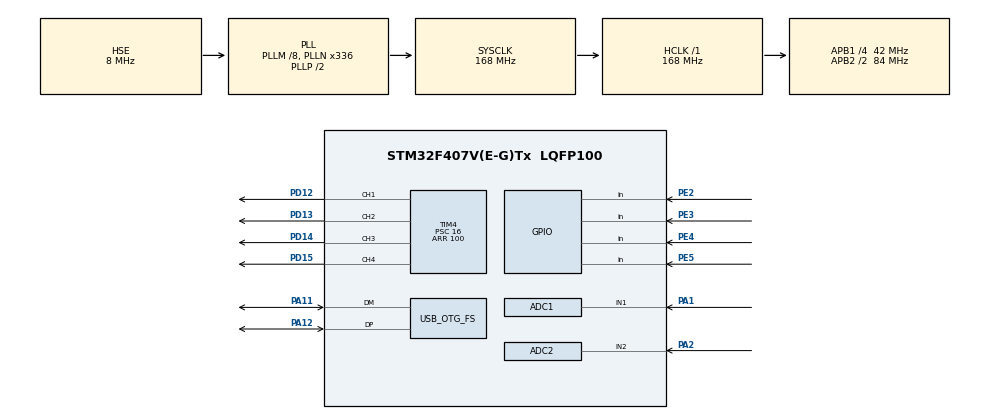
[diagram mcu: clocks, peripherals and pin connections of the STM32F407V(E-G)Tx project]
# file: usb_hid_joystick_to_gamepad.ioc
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ADC1.Channel-0\#ChannelRegularConversion=ADC_CHANNEL_1
ADC1.NbrOfConversionFlag=1
ADC1.Rank-0\#ChannelRegularConversion=1
ADC1.Resolution=ADC_RESOLUTION_8B
ADC1.SamplingTime-0\#ChannelRegularConversion=ADC_SAMPLETIME_3CYCLES
ADC1.master=1
ADC2.Channel-0\#ChannelRegularConversion=ADC_CHANNEL_2
ADC2.NbrOfConversionFlag=1
ADC2.Rank-0\#ChannelRegularConversion=1
ADC2.Resolution=ADC_RESOLUTION_8B
ADC2.SamplingTime-0\#ChannelRegularConversion=ADC_SAMPLETIME_3CYCLES
Mcu.Family=STM32F4
Mcu.Name=STM32F407V(E-G)Tx
Mcu.Package=LQFP100
NVIC.OTG_FS_IRQn=true\:0\:0\:false\:false\:true\:true\:true\:true
NVIC.PriorityGroup=NVIC_PRIORITYGROUP_0
PA1.Signal=ADCx_IN1
PA11.Mode=Device_Only
PA11.Signal=USB_OTG_FS_DM
PA12.Mode=Device_Only
PA12.Signal=USB_OTG_FS_DP
PA2.Signal=ADCx_IN2
PD12.Signal=S_TIM4_CH1
PD13.Signal=S_TIM4_CH2
PD14.Signal=S_TIM4_CH3
PD15.Signal=S_TIM4_CH4
PE2.GPIO_PuPd=GPIO_PULLUP
PE2.Signal=GPIO_Input
PE3.GPIO_PuPd=GPIO_PULLUP
PE3.Signal=GPIO_Input
PE4.GPIO_PuPd=GPIO_PULLUP
PE4.Signal=GPIO_Input
PE5.GPIO_PuPd=GPIO_PULLUP
PE5.Signal=GPIO_Input
PH0-OSC_IN.Mode=HSE-External-Oscillator
PH0-OSC_IN.Signal=RCC_OSC_IN
PH1-OSC_OUT.Mode=HSE-External-Oscillator
PH1-OSC_OUT.Signal=RCC_OSC_OUT
ProjectManager.HeapSize=0x200
ProjectManager.StackSize=0x400
ProjectManager.TargetToolchain=STM32CubeIDE
RCC.48MHZClocksFreq_Value=48000000
RCC.AHBFreq_Value=168000000
RCC.APB1CLKDivider=RCC_HCLK_DIV4
RCC.APB1Freq_Value=42000000
RCC.APB1TimFreq_Value=84000000
RCC.APB2CLKDivider=RCC_HCLK_DIV2
RCC.APB2Freq_Value=84000000
RCC.APB2TimFreq_Value=168000000
RCC.CortexFreq_Value=168000000
RCC.HCLKFreq_Value=168000000
RCC.HSE_VALUE=8000000
RCC.HSI_VALUE=16000000
RCC.LSE_VALUE=32768
RCC.PLLM=8
RCC.PLLN=336
RCC.PLLQ=7
RCC.SYSCLKFreq_VALUE=168000000
RCC.SYSCLKSource=RCC_SYSCLKSOURCE_PLLCLK
RCC.VCOOutputFreq_Value=336000000
SH.ADCx_IN1.0=ADC1_IN1,IN1
SH.ADCx_IN2.0=ADC2_IN2,IN2
SH.S_TIM4_CH1.0=TIM4_CH1,PWM Generation1 CH1
SH.S_TIM4_CH2.0=TIM4_CH2,PWM Generation2 CH2
SH.S_TIM4_CH3.0=TIM4_CH3,PWM Generation3 CH3
SH.S_TIM4_CH4.0=TIM4_CH4,PWM Generation4 CH4
TIM4.Channel-PWM\ Generation1\ CH1=TIM_CHANNEL_1
TIM4.Channel-PWM\ Generation2\ CH2=TIM_CHANNEL_2
TIM4.Channel-PWM\ Generation3\ CH3=TIM_CHANNEL_3
TIM4.Channel-PWM\ Generation4\ CH4=TIM_CHANNEL_4
TIM4.Period=100
TIM4.Prescaler=16
TIM4.Pulse-PWM\ Generation1\ CH1=100
TIM4.Pulse-PWM\ Generation2\ CH2=100
TIM4.Pulse-PWM\ Generation3\ CH3=100
TIM4.Pulse-PWM\ Generation4\ CH4=100
USB_DEVICE.CLASS_NAME_FS=CUSTOM_HID
USB_DEVICE.VirtualMode-CUSTOM_HID_FS=CustomHid
USB_DEVICE.VirtualModeFS=Custom_Hid_FS
USB_OTG_FS.VirtualMode=Device_Only
VP_TIM4_VS_ClockSourceINT.Mode=Internal
VP_USB_DEVICE_VS_USB_DEVICE_CUSTOM_HID_FS.Mode=CUSTOM_HID_FS
board=STM32F407G-DISC1

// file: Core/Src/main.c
/* USER CODE BEGIN Header */
/**
 ******************************************************************************
 * @file           : main.c
 * @brief          : Main program body
 ******************************************************************************
 * @attention
 *
 * Copyright (c) 2024 STMicroelectronics.
 * All rights reserved.
 *
 * This software is licensed under terms that can be found in the LICENSE file
 * in the root directory of this software component.
 * If no LICENSE file comes with this software, it is provided AS-IS.
 *
 ******************************************************************************
 */
/* USER CODE END Header */
#include "main.h"
#include "usb_device.h"

/* USER CODE BEGIN Includes */
#include "usbd_customhid.h"
/* USER CODE END Includes */

/* USER CODE BEGIN PTD */
typedef struct Joystick {
	uint8_t up;
	uint8_t down;
	uint8_t left;
	uint8_t right;
} JoystickTypeDef;
/* USER CODE END PTD */

/* USER CODE BEGIN PM */
#define	GAMEPAD_BUFF_SIZE_UC	3U
/* USER CODE END PM */

ADC_HandleTypeDef hadc1;
ADC_HandleTypeDef hadc2;

TIM_HandleTypeDef htim4;

/* USER CODE BEGIN PV */
extern USBD_HandleTypeDef hUsbDeviceFS;

uint32_t 	DBG_SIZE_PIN_STATE;
GPIO_PinState		DBG_VAL_PIN_STATE;
/* USER CODE END PV */

void SystemClock_Config(void);
static void MX_GPIO_Init(void);
static void MX_ADC1_Init(void);
static void MX_ADC2_Init(void);
static void MX_TIM4_Init(void);
/* USER CODE BEGIN PFP */

void JoystickToLeds(uint8_t ucAdcXIn, uint8_t ucAdcYIn, uint8_t *ucPosUpOut,
		uint8_t *ucPosDownOut, uint8_t *ucPosLeftOut, uint8_t *ucPosRightOut);

void JoystickToUsb(uint8_t ucAdcXIn, uint8_t ucAdcYIn, uint8_t *scUsbXOut,
		uint8_t *scUsbYOut);

/* USER CODE END PFP */

int main(void) {
	/* USER CODE BEGIN 1 */
	uint32_t uiAdc1Val = 0U;
	uint32_t uiAdc2Val = 0U;
	GPIO_PinState BtnState0, BtnState1, BtnState2, BtnState3;
	JoystickTypeDef Joystick_t;
	uint8_t ucGamePadBuffer[GAMEPAD_BUFF_SIZE_UC];
	/* USER CODE END 1 */

	/* MCU Configuration--------------------------------------------------------*/

	/* Reset of all peripherals, Initializes the Flash interface and the Systick. */
	HAL_Init();

	/* Configure the system clock */
	SystemClock_Config();

	/* Initialize all configured peripherals */
	MX_GPIO_Init();
	MX_USB_DEVICE_Init();
	MX_ADC1_Init();
	MX_ADC2_Init();
	MX_TIM4_Init();
	/* USER CODE BEGIN 2 */
	HAL_TIM_PWM_Start(&htim4, TIM_CHANNEL_1);
	HAL_TIM_PWM_Start(&htim4, TIM_CHANNEL_2);
	HAL_TIM_PWM_Start(&htim4, TIM_CHANNEL_3);
	HAL_TIM_PWM_Start(&htim4, TIM_CHANNEL_4);

	ucGamePadBuffer[0] = 0U; /*X movement (0: not moving, +ve: Right movement, -ve: Left movement)*/
	ucGamePadBuffer[1] = 0U; /*Y movement (0: not moving, +ve: Down movement, -ve: Up movement)*/
	ucGamePadBuffer[2] = 0x90U; /*Right and Left clicks (0: None, 1: Left Click, 2: Right click)*/

	/* USER CODE END 2 */

	/* Infinite loop */
	/* USER CODE BEGIN WHILE */
	while (1) {
		/*Get the ADC1 value*/
		HAL_ADC_Start(&hadc1);
		if (HAL_ADC_PollForConversion(&hadc1, 5U) == HAL_OK) {
			uiAdc1Val = HAL_ADC_GetValue(&hadc1);
		}
		HAL_ADC_Stop(&hadc1);

		/*Get the ADC2 value*/
		HAL_ADC_Start(&hadc2);
		if (HAL_ADC_PollForConversion(&hadc2, 5U) == HAL_OK) {
			uiAdc2Val = HAL_ADC_GetValue(&hadc2);
		}
		HAL_ADC_Stop(&hadc2);

		JoystickToLeds(uiAdc1Val, uiAdc2Val, &Joystick_t.up, &Joystick_t.down,
				&Joystick_t.left, &Joystick_t.right);

		/*Modify PWM duty cycle according to ADCs values*/
		htim4.Instance->CCR1 = (uint32_t) Joystick_t.down;
		htim4.Instance->CCR2 = (uint32_t) Joystick_t.right;
		htim4.Instance->CCR3 = (uint32_t) Joystick_t.up;
		htim4.Instance->CCR4 = (uint32_t) Joystick_t.left;

		/*Read GPIO Buttons state and update the GamePad signal*/
		BtnState0 = HAL_GPIO_ReadPin(GPIOE, GPIO_PIN_2);
		BtnState1 = HAL_GPIO_ReadPin(GPIOE, GPIO_PIN_3);
		BtnState2 = HAL_GPIO_ReadPin(GPIOE, GPIO_PIN_4);
		BtnState3 = HAL_GPIO_ReadPin(GPIOE, GPIO_PIN_5);

		ucGamePadBuffer[2] = (((uint8_t)BtnState0 << 0U) | ((uint8_t)BtnState1 << 1U)
				| ((uint8_t)BtnState2 << 2U) | ((uint8_t)BtnState3 << 3U) | 0x90U);

		/*Convert Joystick reads into Mouse signals*/
		JoystickToUsb(uiAdc1Val, uiAdc2Val, &ucGamePadBuffer[0],
				&ucGamePadBuffer[1]);

		ucGamePadBuffer[2] 	= 0x90U;
		DBG_SIZE_PIN_STATE	= sizeof(GPIO_PinState);
		DBG_VAL_PIN_STATE	= BtnState0;

		/*Send the Mouse signals through USB*/
		USBD_CUSTOM_HID_SendReport(&hUsbDeviceFS, ucGamePadBuffer,
				GAMEPAD_BUFF_SIZE_UC);
		HAL_Delay(100U);

		/* USER CODE END WHILE */

	}
}

void SystemClock_Config(void) {
	RCC_OscInitTypeDef RCC_OscInitStruct = { 0 };
	RCC_ClkInitTypeDef RCC_ClkInitStruct = { 0 };

	/** Configure the main internal regulator output voltage
	 */
	__HAL_RCC_PWR_CLK_ENABLE();
	__HAL_PWR_VOLTAGESCALING_CONFIG(PWR_REGULATOR_VOLTAGE_SCALE1);

	/** Initializes the RCC Oscillators according to the specified parameters
	 * in the RCC_OscInitTypeDef structure.
	 */
	RCC_OscInitStruct.OscillatorType = RCC_OSCILLATORTYPE_HSE;
	RCC_OscInitStruct.HSEState = RCC_HSE_ON;
	RCC_OscInitStruct.PLL.PLLState = RCC_PLL_ON;
	RCC_OscInitStruct.PLL.PLLSource = RCC_PLLSOURCE_HSE;
	RCC_OscInitStruct.PLL.PLLM = 8;
	RCC_OscInitStruct.PLL.PLLN = 336;
	RCC_OscInitStruct.PLL.PLLP = RCC_PLLP_DIV2;
	RCC_OscInitStruct.PLL.PLLQ = 7;
	if (HAL_RCC_OscConfig(&RCC_OscInitStruct) != HAL_OK) {
		Error_Handler();
	}

	/** Initializes the CPU, AHB and APB buses clocks
	 */
	RCC_ClkInitStruct.ClockType = RCC_CLOCKTYPE_HCLK | RCC_CLOCKTYPE_SYSCLK
			| RCC_CLOCKTYPE_PCLK1 | RCC_CLOCKTYPE_PCLK2;
	RCC_ClkInitStruct.SYSCLKSource = RCC_SYSCLKSOURCE_PLLCLK;
	RCC_ClkInitStruct.AHBCLKDivider = RCC_SYSCLK_DIV1;
	RCC_ClkInitStruct.APB1CLKDivider = RCC_HCLK_DIV4;
	RCC_ClkInitStruct.APB2CLKDivider = RCC_HCLK_DIV2;

	if (HAL_RCC_ClockConfig(&RCC_ClkInitStruct, FLASH_LATENCY_5) != HAL_OK) {
		Error_Handler();
	}
}

static void MX_ADC1_Init(void) {

	ADC_ChannelConfTypeDef sConfig = { 0 };

	/** Configure the global features of the ADC (Clock, Resolution, Data Alignment and number of conversion)
	 */
	hadc1.Instance = ADC1;
	hadc1.Init.ClockPrescaler = ADC_CLOCK_SYNC_PCLK_DIV4;
	hadc1.Init.Resolution = ADC_RESOLUTION_8B;
	hadc1.Init.ScanConvMode = DISABLE;
	hadc1.Init.ContinuousConvMode = DISABLE;
	hadc1.Init.DiscontinuousConvMode = DISABLE;
	hadc1.Init.ExternalTrigConvEdge = ADC_EXTERNALTRIGCONVEDGE_NONE;
	hadc1.Init.ExternalTrigConv = ADC_SOFTWARE_START;
	hadc1.Init.DataAlign = ADC_DATAALIGN_RIGHT;
	hadc1.Init.NbrOfConversion = 1;
	hadc1.Init.DMAContinuousRequests = DISABLE;
	hadc1.Init.EOCSelection = ADC_EOC_SINGLE_CONV;
	if (HAL_ADC_Init(&hadc1) != HAL_OK) {
		Error_Handler();
	}

	/** Configure for the selected ADC regular channel its corresponding rank in the sequencer and its sample time.
	 */
	sConfig.Channel = ADC_CHANNEL_1;
	sConfig.Rank = 1;
	sConfig.SamplingTime = ADC_SAMPLETIME_3CYCLES;
	if (HAL_ADC_ConfigChannel(&hadc1, &sConfig) != HAL_OK) {
		Error_Handler();
	}

}

static void MX_ADC2_Init(void) {

	ADC_ChannelConfTypeDef sConfig = { 0 };

	/** Configure the global features of the ADC (Clock, Resolution, Data Alignment and number of conversion)
	 */
	hadc2.Instance = ADC2;
	hadc2.Init.ClockPrescaler = ADC_CLOCK_SYNC_PCLK_DIV4;
	hadc2.Init.Resolution = ADC_RESOLUTION_8B;
	hadc2.Init.ScanConvMode = DISABLE;
	hadc2.Init.ContinuousConvMode = DISABLE;
	hadc2.Init.DiscontinuousConvMode = DISABLE;
	hadc2.Init.ExternalTrigConvEdge = ADC_EXTERNALTRIGCONVEDGE_NONE;
	hadc2.Init.ExternalTrigConv = ADC_SOFTWARE_START;
	hadc2.Init.DataAlign = ADC_DATAALIGN_RIGHT;
	hadc2.Init.NbrOfConversion = 1;
	hadc2.Init.DMAContinuousRequests = DISABLE;
	hadc2.Init.EOCSelection = ADC_EOC_SINGLE_CONV;
	if (HAL_ADC_Init(&hadc2) != HAL_OK) {
		Error_Handler();
	}

	/** Configure for the selected ADC regular channel its corresponding rank in the sequencer and its sample time.
	 */
	sConfig.Channel = ADC_CHANNEL_2;
	sConfig.Rank = 1;
	sConfig.SamplingTime = ADC_SAMPLETIME_3CYCLES;
	if (HAL_ADC_ConfigChannel(&hadc2, &sConfig) != HAL_OK) {
		Error_Handler();
	}

}

static void MX_TIM4_Init(void) {

	TIM_ClockConfigTypeDef sClockSourceConfig = { 0 };
	TIM_MasterConfigTypeDef sMasterConfig = { 0 };
	TIM_OC_InitTypeDef sConfigOC = { 0 };

	htim4.Instance = TIM4;
	htim4.Init.Prescaler = 16;
	htim4.Init.CounterMode = TIM_COUNTERMODE_UP;
	htim4.Init.Period = 100;
	htim4.Init.ClockDivision = TIM_CLOCKDIVISION_DIV1;
	htim4.Init.AutoReloadPreload = TIM_AUTORELOAD_PRELOAD_DISABLE;
	if (HAL_TIM_Base_Init(&htim4) != HAL_OK) {
		Error_Handler();
	}
	sClockSourceConfig.ClockSource = TIM_CLOCKSOURCE_INTERNAL;
	if (HAL_TIM_ConfigClockSource(&htim4, &sClockSourceConfig) != HAL_OK) {
		Error_Handler();
	}
	if (HAL_TIM_PWM_Init(&htim4) != HAL_OK) {
		Error_Handler();
	}
	sMasterConfig.MasterOutputTrigger = TIM_TRGO_RESET;
	sMasterConfig.MasterSlaveMode = TIM_MASTERSLAVEMODE_DISABLE;
	if (HAL_TIMEx_MasterConfigSynchronization(&htim4, &sMasterConfig)
			!= HAL_OK) {
		Error_Handler();
	}
	sConfigOC.OCMode = TIM_OCMODE_PWM1;
	sConfigOC.Pulse = 100;
	sConfigOC.OCPolarity = TIM_OCPOLARITY_HIGH;
	sConfigOC.OCFastMode = TIM_OCFAST_DISABLE;
	if (HAL_TIM_PWM_ConfigChannel(&htim4, &sConfigOC, TIM_CHANNEL_1)
			!= HAL_OK) {
		Error_Handler();
	}
	if (HAL_TIM_PWM_ConfigChannel(&htim4, &sConfigOC, TIM_CHANNEL_2)
			!= HAL_OK) {
		Error_Handler();
	}
	if (HAL_TIM_PWM_ConfigChannel(&htim4, &sConfigOC, TIM_CHANNEL_3)
			!= HAL_OK) {
		Error_Handler();
	}
	if (HAL_TIM_PWM_ConfigChannel(&htim4, &sConfigOC, TIM_CHANNEL_4)
			!= HAL_OK) {
		Error_Handler();
	}
	HAL_TIM_MspPostInit(&htim4);

}

static void MX_GPIO_Init(void) {
	GPIO_InitTypeDef GPIO_InitStruct = { 0 };

	/* GPIO Ports Clock Enable */
	__HAL_RCC_GPIOE_CLK_ENABLE();
	__HAL_RCC_GPIOH_CLK_ENABLE();
	__HAL_RCC_GPIOA_CLK_ENABLE();
	__HAL_RCC_GPIOD_CLK_ENABLE();

	/*Configure GPIO pins : PE2 PE3 PE4 PE5 */
	GPIO_InitStruct.Pin = GPIO_PIN_2 | GPIO_PIN_3 | GPIO_PIN_4 | GPIO_PIN_5;
	GPIO_InitStruct.Mode = GPIO_MODE_INPUT;
	GPIO_InitStruct.Pull = GPIO_PULLUP;
	HAL_GPIO_Init(GPIOE, &GPIO_InitStruct);

}

/* USER CODE BEGIN 4 */
void JoystickToLeds(uint8_t ucAdcXIn, uint8_t ucAdcYIn, uint8_t *ucPosUpOut,
		uint8_t *ucPosDownOut, uint8_t *ucPosLeftOut, uint8_t *ucPosRightOut) {
	/*X AXIS*/
	if (ucAdcXIn > 123U && ucAdcXIn < 135U) /*MIDDLE*/
	{
		*ucPosUpOut = 0U;
		*ucPosDownOut = 0U;
	} else if (ucAdcXIn >= 135U) /*UP*/
	{
		*ucPosUpOut = (128U + (int8_t) ucAdcXIn) / 2U;
		*ucPosDownOut = 0U;
	} else if (ucAdcXIn <= 123U) /*DOWN*/
	{
		*ucPosUpOut = 0U;
		*ucPosDownOut = (128U - (int8_t) ucAdcXIn) / 2U;
	}

	/*Y AXIS*/
	if (ucAdcYIn > 123U && ucAdcYIn < 135U) /*MIDDLE*/
	{
		*ucPosLeftOut = 0U;
		*ucPosRightOut = 0U;
	} else if (ucAdcYIn >= 135U) /*RIGHT*/
	{
		*ucPosLeftOut = 0U;
		*ucPosRightOut = (128U + (int8_t) ucAdcYIn) / 2U;
	} else if (ucAdcYIn <= 123U) /*LEFT*/
	{
		*ucPosLeftOut = (128U - (int8_t) ucAdcYIn) / 2U;
		*ucPosRightOut = 0U;
	}
}

void JoystickToUsb(uint8_t ucAdcXIn, uint8_t ucAdcYIn, uint8_t *scUsbXOut,
		uint8_t *scUsbYOut) {
	/*X AXIS*/
	if (ucAdcXIn > 123U && ucAdcXIn < 135U) /*MIDDLE*/
	{
		*scUsbXOut = 0U;
	} else if (ucAdcXIn >= 135U) /*UP*/
	{
		*scUsbXOut = (ucAdcXIn - 127U);
	} else if (ucAdcXIn >= 0 && ucAdcXIn <= 127U) /*DOWN*/
	{
		*scUsbXOut = (ucAdcXIn - 127U);
	}

	/*Y AXIS*/
	if (ucAdcYIn > 123U && ucAdcYIn < 135U) /*MIDDLE*/
	{
		*scUsbYOut = 0U;
	} else if (ucAdcYIn >= 135U) /*RIGHT*/
	{
		*scUsbYOut = -(ucAdcYIn - 127U);
	} else if (ucAdcYIn >= 0 && ucAdcYIn <= 127U) /*LEFT*/
	{
		*scUsbYOut = -(ucAdcYIn - 127U);
	}
}
/* USER CODE END 4 */

void Error_Handler(void) {
	__disable_irq();
	while (1) {
	}
}
